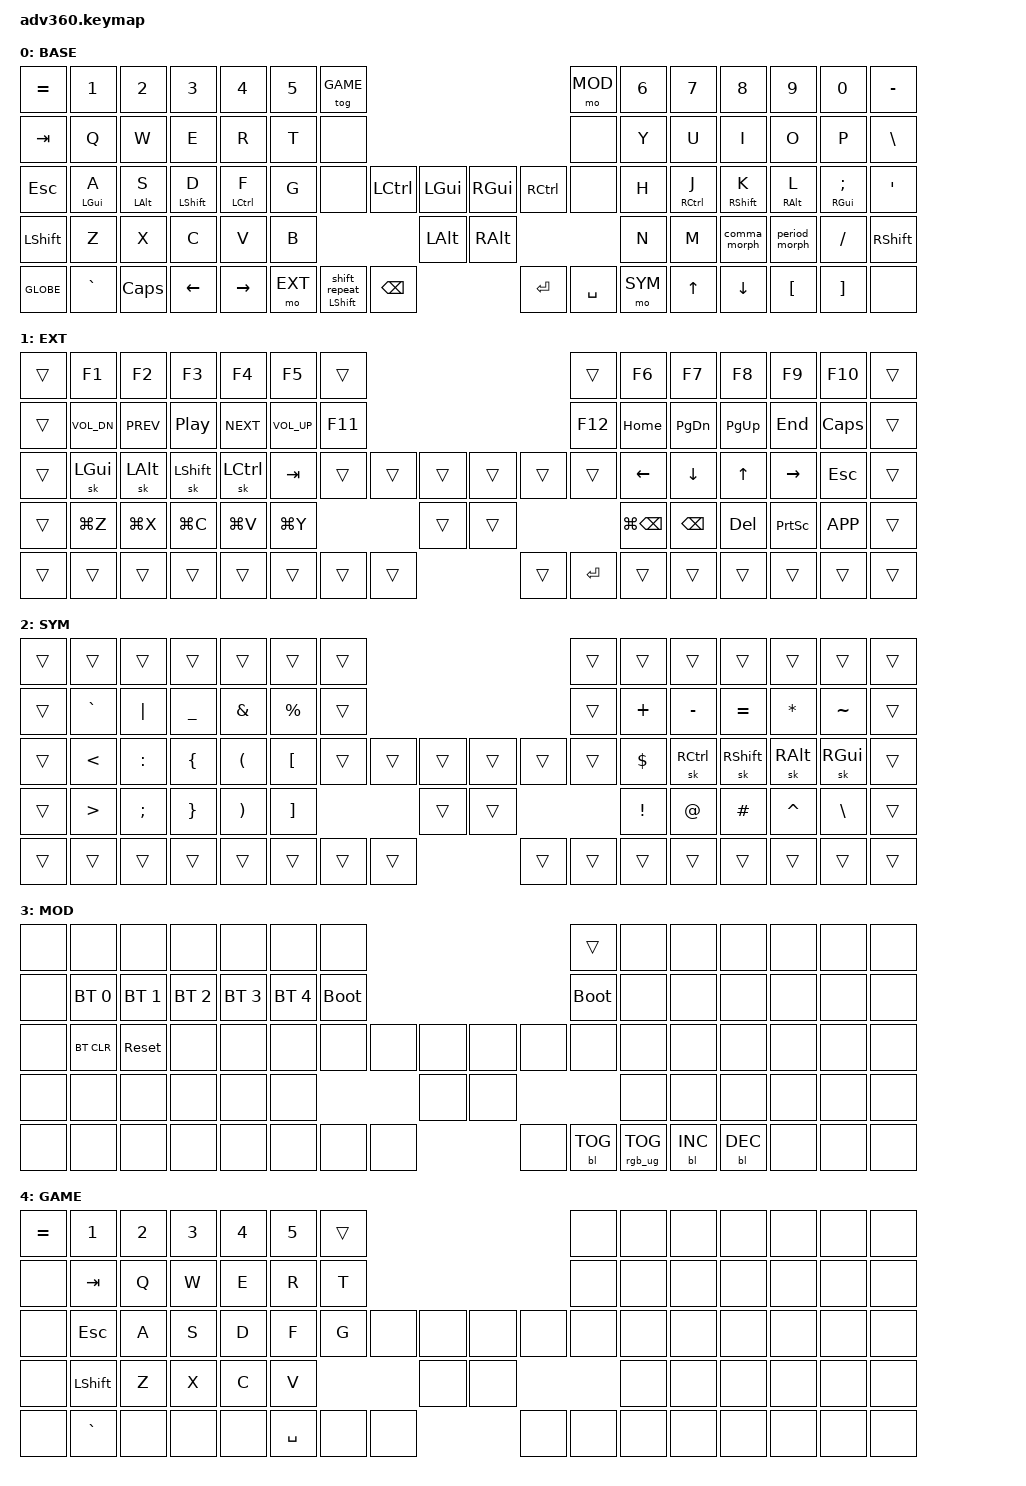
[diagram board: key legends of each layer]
/*
 * Kinesis Advantage 360 Pro ZMK Keymap
 *
 * Layers: BASE, EXT (extend/nav/edit), SYM (symbols), MOD (settings)
 *
 * Features:
 * - Timeless home row mods (GASC layout) for virtually misfire-free HRMs
 * - Magic shift: tap after letter=repeat, after other=sticky-shift, hold=shift
 * - Mod-morphs: comma->single-quote, period->double-quote when shifted
 * - EXT layer: Navigation, media, editing shortcuts (Cmd+Z/X/C/V)
 * - SYM layer: Programming symbols with combos for =>, <=, >=, !=
 *
 * Thumb cluster:
 * - Left inner (2u): EXT layer
 * - Left middle (2u): Magic shift
 * - Left outer (1u): Backspace
 * - Right inner (2u): SYM layer
 * - Right middle (2u): Space
 * - Right outer (1u): Enter
 */

#include <behaviors.dtsi>
#include <dt-bindings/zmk/keys.h>
#include <dt-bindings/zmk/bt.h>
#include <dt-bindings/zmk/rgb.h>
#include <dt-bindings/zmk/backlight.h>

/* Layer indices */
#define BASE 0
#define EXT  1
#define SYM  2
#define MOD  3
#define GAME 4

/* Key position groups for positional hold-tap (76-key layout)
 * These define which keys trigger the hold behavior for home row mods
 */
#define KEYS_L 0 1 2 3 4 5 6 14 15 16 17 18 19 20 28 29 30 31 32 33 34 35 36 46 47 48 49 50 51 52 60 61 62 63 64 65 66 67
#define KEYS_R 7 8 9 10 11 12 13 21 22 23 24 25 26 27 37 38 39 40 41 42 43 44 45 53 54 55 56 57 58 59 68 69 70 71 72 73 74 75
#define THUMBS 65 66 67 68 69 70

/* Configure caps-word: mods deactivate caps-word */
&caps_word {
  /delete-property/ ignore-modifiers;
};

/ {
  behaviors {
    /* Timeless home row mods - GASC layout (GUI, Alt, Shift, Ctrl)
     * Based on urob's timeless HRM approach:
     * - Long tapping-term (280ms) makes timing insensitive
     * - Balanced flavor activates on nested keypresses
     * - Positional hold-tap: only triggers mods when opposite hand is used
     * - hold-trigger-on-release allows combining mods on same hand
     */
    hml: homerow_mods_left {
      compatible = "zmk,behavior-hold-tap";
      label = "HOMEROW_MODS_LEFT";
      #binding-cells = <2>;
      flavor = "balanced";
      tapping-term-ms = <280>;
      quick-tap-ms = <175>;
      require-prior-idle-ms = <150>;
      bindings = <&kp>, <&kp>;
      hold-trigger-key-positions = <KEYS_R THUMBS>;
      hold-trigger-on-release;
    };

    hmr: homerow_mods_right {
      compatible = "zmk,behavior-hold-tap";
      label = "HOMEROW_MODS_RIGHT";
      #binding-cells = <2>;
      flavor = "balanced";
      tapping-term-ms = <280>;
      quick-tap-ms = <175>;
      require-prior-idle-ms = <150>;
      bindings = <&kp>, <&kp>;
      hold-trigger-key-positions = <KEYS_L THUMBS>;
      hold-trigger-on-release;
    };

    /* Magic shift: tap for repeat/sticky-shift, hold for shift
     * - Tap after letter -> key-repeat
     * - Tap after other key -> sticky-shift
     * - Hold -> regular shift
     */
    magic_shift: magic_shift {
      compatible = "zmk,behavior-hold-tap";
      label = "MAGIC_SHIFT";
      #binding-cells = <2>;
      flavor = "balanced";
      tapping-term-ms = <200>;
      quick-tap-ms = <175>;
      bindings = <&kp>, <&shift_repeat>;
    };

    shift_repeat: shift_repeat {
      compatible = "zmk,behavior-adaptive-key";
      label = "SHIFT_REPEAT";
      #binding-cells = <0>;
      bindings = <&sk LSHFT>;
      repeat {
        trigger-keys = <
          14 15 16 17 18 19 20  21 22 23 24 25 26 27   // QWERTY row
          29 30 31 32 33 34     38 39 40 41 42 43      // Home row (letters only)
          47 48 49 50 51        54 55 56 57 58         // Bottom row (letters only)
        >;
        bindings = <&key_repeat>;
        max-prior-idle-ms = <1200>;
        strict-modifiers;
      };
    };

    /* Comma/Single-quote mod-morph: tap=comma, shift+tap=single-quote */
    comma_morph: comma_morph {
      compatible = "zmk,behavior-mod-morph";
      label = "COMMA_MORPH";
      #binding-cells = <0>;
      bindings = <&kp COMMA>, <&kp SQT>;
      mods = <(MOD_LSFT|MOD_RSFT)>;
    };

    /* Period/Double-quote mod-morph: tap=period, shift+tap=double-quote */
    period_morph: period_morph {
      compatible = "zmk,behavior-mod-morph";
      label = "PERIOD_MORPH";
      #binding-cells = <0>;
      bindings = <&kp DOT>, <&kp DQT>;
      mods = <(MOD_LSFT|MOD_RSFT)>;
    };
  };

  /* Programming symbol combos */
  combos {
    compatible = "zmk,combos";

    combo_arrow {
      timeout-ms = <50>;
      key-positions = <48 49>; // C + V position on SYM layer -> =>
      bindings = <&arrow>;
      layers = <SYM>;
    };

    combo_lte {
      timeout-ms = <50>;
      key-positions = <31 32>; // D + F position on SYM layer -> <=
        bindings = <&lte>;
        layers = <SYM>;
    };

    combo_gte {
      timeout-ms = <50>;
      key-positions = <41 42>; // J + K position on SYM layer -> >=
        bindings = <&gte>;
        layers = <SYM>;
    };

    combo_neq {
      timeout-ms = <50>;
      key-positions = <30 31>; // S + D position on SYM layer -> !=
        bindings = <&neq>;
        layers = <SYM>;
    };
  };

  macros {
    arrow: arrow {
      label = "ARROW";
      compatible = "zmk,behavior-macro";
      #binding-cells = <0>;
      bindings = <&kp EQUAL &kp GT>;
    };

    lte: lte {
      label = "LESS_THAN_EQUAL";
      compatible = "zmk,behavior-macro";
      #binding-cells = <0>;
      bindings = <&kp LT &kp EQUAL>;
    };

    gte: gte {
      label = "GREATER_THAN_EQUAL";
      compatible = "zmk,behavior-macro";
      #binding-cells = <0>;
      bindings = <&kp GT &kp EQUAL>;
    };

    neq: neq {
      label = "NOT_EQUAL";
      compatible = "zmk,behavior-macro";
      #binding-cells = <0>;
      bindings = <&kp EXCL &kp EQUAL>;
    };
  };

  keymap {
    compatible = "zmk,keymap";

    default_layer {
      display-name = "BASE";
      bindings = <
        &kp EQUAL &kp N1         &kp N2        &kp N3         &kp N4         &kp N5 &tog GAME                                                                   &mo MOD &kp N6 &kp N7         &kp N8         &kp N9        &kp N0          &kp MINUS
        &kp TAB   &kp Q          &kp W         &kp E          &kp R          &kp T  &none                                                                       &none   &kp Y  &kp U          &kp I          &kp O         &kp P           &kp BSLH
        &kp ESC   &hml LGUI A    &hml LALT S   &hml LSHFT D   &hml LCTRL F   &kp G  &none           &kp LCTRL &kp LGUI &kp RGUI  &kp RCTRL                      &none   &kp H  &hmr RCTRL J   &hmr RSHFT K   &hmr RALT L   &hmr RGUI SEMI  &kp SQT
        &kp LSHFT &kp Z          &kp X         &kp C          &kp V          &kp B                            &kp LALT &kp RALT                                         &kp N  &kp M          &comma_morph   &period_morph &kp FSLH        &kp RSHFT
        &kp GLOBE &kp GRAVE      &kp CAPS      &kp LEFT       &kp RIGHT                   &mo EXT &magic_shift LSHFT 0 &kp BSPC &kp ENTER &kp SPACE &mo SYM                    &kp UP         &kp DOWN       &kp LBKT      &kp RBKT        &none
      >;
    };

    ext_layer {
      display-name = "EXT";
      bindings = <
        &trans    &kp F1       &kp F2       &kp F3           &kp F4       &kp F5    &trans                                                                      &trans  &kp F6       &kp F7       &kp F8       &kp F9       &kp F10      &trans
        &trans    &kp C_VOL_DN &kp C_PREV   &kp C_PLAY_PAUSE &kp C_NEXT   &kp C_VOL_UP &kp F11                                                                  &kp F12 &kp HOME     &kp PG_DN    &kp PG_UP    &kp END      &kp CAPS     &trans
        &trans    &sk LGUI     &sk LALT     &sk LSHFT        &sk LCTRL    &kp TAB   &trans          &trans    &trans   &trans    &trans                         &trans  &kp LEFT     &kp DOWN     &kp UP       &kp RIGHT    &kp ESC      &trans
        &trans    &kp LG(Z)    &kp LG(X)    &kp LG(C)        &kp LG(V)    &kp LG(Y)                           &trans   &trans                                           &kp LG(BSPC) &kp BSPC     &kp DEL      &kp PSCRN    &kp K_APP    &trans
        &trans    &trans       &trans       &trans           &trans                       &trans    &trans    &trans   &trans    &kp ENTER &trans                                    &trans       &trans       &trans       &trans       &trans
      >;
    };

    sym_layer {
      display-name = "SYM";
      bindings = <
        &trans    &trans       &trans       &trans           &trans       &trans    &trans                                                                      &trans  &trans       &trans       &trans       &trans       &trans       &trans
        &trans    &kp GRAVE    &kp PIPE     &kp UNDER        &kp AMPS     &kp PRCNT &trans                                                                      &trans  &kp PLUS     &kp MINUS    &kp EQUAL    &kp STAR     &kp TILDE    &trans
        &trans    &kp LT       &kp COLON    &kp LBRC         &kp LPAR     &kp LBKT  &trans          &trans    &trans   &trans    &trans                         &trans  &kp DLLR     &sk RCTRL    &sk RSHFT    &sk RALT     &sk RGUI     &trans
        &trans    &kp GT       &kp SEMI     &kp RBRC         &kp RPAR     &kp RBKT                            &trans   &trans                                           &kp EXCL     &kp AT       &kp HASH     &kp CARET    &kp BSLH     &trans
        &trans    &trans       &trans       &trans           &trans                      &trans    &trans    &trans   &trans    &trans    &trans                                    &trans       &trans       &trans       &trans       &trans
      >;
    };

    mod_layer {
      display-name = "MOD";
      bindings = <
        &none &none        &none        &none        &none        &none        &none                                                                       &trans                 &none        &none        &none        &none &none &none
        &none &bt BT_SEL 0 &bt BT_SEL 1 &bt BT_SEL 2 &bt BT_SEL 3 &bt BT_SEL 4 &bootloader                                                                 &bootloader            &none        &none        &none        &none &none &none
        &none &bt BT_CLR   &sys_reset   &none        &none        &none        &none                   &none &none &none      &none                        &none                  &none        &none        &none        &none &none &none
        &none &none        &none        &none        &none        &none                                      &none &none                                                          &none        &none        &none        &none &none &none
        &none &none        &none        &none        &none                                       &none &none &none &none      &bl BL_TOG &rgb_ug RGB_TOG                                       &bl BL_INC   &bl BL_DEC   &none &none &none
      >;
    };

    game_layer {
      display-name = "GAME";
      bindings = <
        /* Row 0: Numbers unshifted (important for weapons), GAME toggle on left inner */
        &kp EQUAL &kp N1     &kp N2     &kp N3     &kp N4     &kp N5     &trans                                                                      &none &none &none &none &none &none &none
        /* Row 1: Shifted right - physical E outputs W (forward), etc. */
        &none     &kp TAB    &kp Q      &kp W      &kp E      &kp R      &kp T                                                                       &none &none &none &none &none &none &none
        /* Row 2: Shifted right, plain keys (no HRMs) - S→A, D→S, F→D for WASD on ESDF */
        &none     &kp ESC    &kp A      &kp S      &kp D      &kp F      &kp G           &none     &none    &none     &none                          &none &none &none &none &none &none &none
        /* Row 3: Shifted right */
        &none     &kp LSHFT  &kp Z      &kp X      &kp C      &kp V                                &none    &none                                          &none &none &none &none &none &none
        /* Row 4: Space on left inner thumb, other thumbs TBD */
        &none     &kp GRAVE  &none      &none      &none                       &kp SPACE &none     &none    &none     &none     &none                            &none &none &none &none &none
      >;
    };
  };
};
